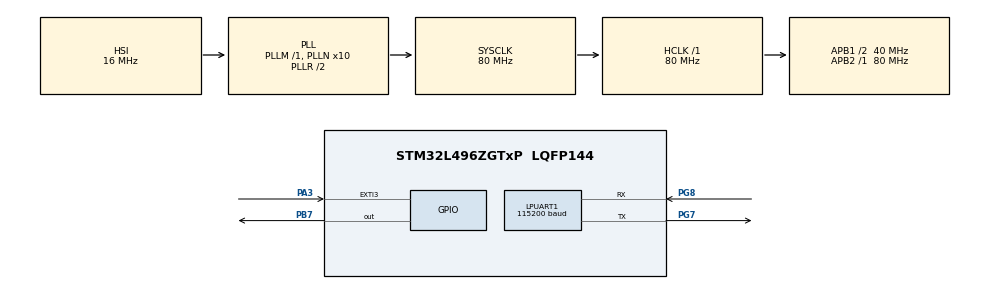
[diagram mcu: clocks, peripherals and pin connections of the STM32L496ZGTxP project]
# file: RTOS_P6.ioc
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FREERTOS.Events01=myEvent01,Dynamic,NULL
FREERTOS.Tasks01=ButtonTask,24,128,StartButtonTask,Default,NULL,Dynamic,NULL,NULL;UartTask,24,512,StartUartTask,Default,NULL,Dynamic,NULL,NULL
FREERTOS.configTOTAL_HEAP_SIZE=10000
FREERTOS.configUSE_NEWLIB_REENTRANT=1
LPUART1.BaudRate=115200
LPUART1.WordLength=UART_WORDLENGTH_8B
Mcu.Family=STM32L4
Mcu.Name=STM32L496ZGTxP
Mcu.Package=LQFP144
NVIC.EXTI3_IRQn=true\:5\:0\:false\:false\:true\:true\:true\:true\:true
NVIC.LPUART1_IRQn=true\:5\:0\:false\:false\:true\:true\:true\:true\:true
NVIC.PriorityGroup=NVIC_PRIORITYGROUP_4
NVIC.TIM6_DAC_IRQn=true\:15\:0\:false\:false\:true\:false\:false\:true\:true
NVIC.TimeBase=TIM6_DAC_IRQn
NVIC.TimeBaseIP=TIM6
PA13\ (JTMS/SWDIO).Mode=Serial_Wire
PA13\ (JTMS/SWDIO).Signal=SYS_JTMS-SWDIO
PA14\ (JTCK/SWCLK).Mode=Serial_Wire
PA14\ (JTCK/SWCLK).Signal=SYS_JTCK-SWCLK
PA3.GPIO_ModeDefaultEXTI=GPIO_MODE_IT_FALLING
PA3.GPIO_PuPd=GPIO_PULLUP
PA3.Signal=GPXTI3
PB7.Signal=GPIO_Output
PG7.Mode=Asynchronous
PG7.Signal=LPUART1_TX
PG8.Mode=Asynchronous
PG8.Signal=LPUART1_RX
ProjectManager.HeapSize=0x200
ProjectManager.StackSize=0x400
ProjectManager.TargetToolchain=STM32CubeIDE
RCC.48MHZClocksFreq_Value=24000000
RCC.ADCFreq_Value=64000000
RCC.AHBFreq_Value=80000000
RCC.APB1CLKDivider=RCC_HCLK_DIV2
RCC.APB1Freq_Value=40000000
RCC.APB1TimFreq_Value=80000000
RCC.APB2Freq_Value=80000000
RCC.APB2TimFreq_Value=80000000
RCC.CortexFreq_Value=80000000
RCC.HCLKFreq_Value=80000000
RCC.HSE_VALUE=8000000
RCC.HSI48_VALUE=48000000
RCC.HSI_VALUE=16000000
RCC.LSE_VALUE=32768
RCC.MSI_VALUE=4000000
RCC.PLLMUL=RCC_PLL_MUL9
RCC.PLLN=10
RCC.PLLSourceVirtual=RCC_PLLSOURCE_HSI
RCC.PRESCALERUSB=RCC_USBCLKSOURCE_PLL_DIV1_5
RCC.SYSCLKFreq_VALUE=80000000
RCC.SYSCLKSource=RCC_SYSCLKSOURCE_PLLCLK
RCC.SYSCLKSourceVirtual=RCC_SYSCLKSOURCE_PLLCLK
RCC.USBFreq_Value=64000000
RCC.VCOOutputFreq_Value=160000000
VP_FREERTOS_VS_CMSIS_V2.Mode=CMSIS_V2
VP_SYS_VS_tim6.Mode=TIM6
board=NUCLEO-L496ZG-P

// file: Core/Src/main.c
/* USER CODE BEGIN Header */
/**
  ******************************************************************************
  * @file           : main.c
  * @brief          : Main program body
  ******************************************************************************
  * @attention
  *
  * Copyright (c) 2026 STMicroelectronics.
  * All rights reserved.
  *
  * This software is licensed under terms that can be found in the LICENSE file
  * in the root directory of this software component.
  * If no LICENSE file comes with this software, it is provided AS-IS.
  *
  ******************************************************************************
  */
/* USER CODE END Header */
#include "main.h"
#include "cmsis_os.h"

/* USER CODE BEGIN Includes */
#include "stdio.h"
#include "string.h"
/* USER CODE END Includes */

UART_HandleTypeDef hlpuart1;

/* Definitions for ButtonTask */
osThreadId_t ButtonTaskHandle;
const osThreadAttr_t ButtonTask_attributes = {
  .name = "ButtonTask",
  .stack_size = 128 * 4,
  .priority = (osPriority_t) osPriorityNormal,
};
/* Definitions for UartTask */
osThreadId_t UartTaskHandle;
const osThreadAttr_t UartTask_attributes = {
  .name = "UartTask",
  .stack_size = 512 * 4,
  .priority = (osPriority_t) osPriorityNormal,
};
/* Definitions for myEvent01 */
osEventFlagsId_t myEvent01Handle;
const osEventFlagsAttr_t myEvent01_attributes = {
  .name = "myEvent01"
};

void SystemClock_Config(void);
static void MX_GPIO_Init(void);
static void MX_LPUART1_UART_Init(void);
void StartButtonTask(void *argument);
void StartUartTask(void *argument);

/* USER CODE BEGIN 0 */

int __io_putchar (int ch)
{
	uint8_t c = ch;
	HAL_UART_Transmit(&hlpuart1, &c, 1, HAL_MAX_DELAY);
	return ch;
}

#define BUTTON_PRESSED	(1<<3)
#define UART_RECEIVED	(1<<4)

uint8_t RxData[10];

void HAL_GPIO_EXTI_Callback(uint16_t GPIO_Pin)
{
	osEventFlagsSet(myEvent01Handle, BUTTON_PRESSED);
}

void HAL_UART_RxCpltCallback(UART_HandleTypeDef *huart)
{
	osEventFlagsSet(myEvent01Handle, UART_RECEIVED);
	HAL_UART_Receive_IT(&hlpuart1, RxData, 5);
}

/* USER CODE END 0 */

int main(void)
{

  /* MCU Configuration--------------------------------------------------------*/

  /* Reset of all peripherals, Initializes the Flash interface and the Systick. */
  HAL_Init();

  /* Configure the system clock */
  SystemClock_Config();

  /* Initialize all configured peripherals */
  MX_GPIO_Init();
  MX_LPUART1_UART_Init();
  /* USER CODE BEGIN 2 */

  HAL_UART_Receive_IT(&hlpuart1, RxData, 5);

  /* USER CODE END 2 */

  /* Init scheduler */
  osKernelInitialize();

  /* Create the thread(s) */
  /* creation of ButtonTask */
  ButtonTaskHandle = osThreadNew(StartButtonTask, NULL, &ButtonTask_attributes);

  /* creation of UartTask */
  UartTaskHandle = osThreadNew(StartUartTask, NULL, &UartTask_attributes);

  /* Create the event(s) */
  /* creation of myEvent01 */
  myEvent01Handle = osEventFlagsNew(&myEvent01_attributes);

  /* Start scheduler */
  osKernelStart();

  /* We should never get here as control is now taken by the scheduler */

  /* Infinite loop */
  while (1)
  {

  }
}

void SystemClock_Config(void)
{
  RCC_OscInitTypeDef RCC_OscInitStruct = {0};
  RCC_ClkInitTypeDef RCC_ClkInitStruct = {0};

  /** Configure the main internal regulator output voltage
  */
  if (HAL_PWREx_ControlVoltageScaling(PWR_REGULATOR_VOLTAGE_SCALE1) != HAL_OK)
  {
    Error_Handler();
  }

  /** Initializes the RCC Oscillators according to the specified parameters
  * in the RCC_OscInitTypeDef structure.
  */
  RCC_OscInitStruct.OscillatorType = RCC_OSCILLATORTYPE_HSI;
  RCC_OscInitStruct.HSIState = RCC_HSI_ON;
  RCC_OscInitStruct.HSICalibrationValue = RCC_HSICALIBRATION_DEFAULT;
  RCC_OscInitStruct.PLL.PLLState = RCC_PLL_ON;
  RCC_OscInitStruct.PLL.PLLSource = RCC_PLLSOURCE_HSI;
  RCC_OscInitStruct.PLL.PLLM = 1;
  RCC_OscInitStruct.PLL.PLLN = 10;
  RCC_OscInitStruct.PLL.PLLP = RCC_PLLP_DIV2;
  RCC_OscInitStruct.PLL.PLLQ = RCC_PLLQ_DIV2;
  RCC_OscInitStruct.PLL.PLLR = RCC_PLLR_DIV2;
  if (HAL_RCC_OscConfig(&RCC_OscInitStruct) != HAL_OK)
  {
    Error_Handler();
  }

  /** Initializes the CPU, AHB and APB buses clocks
  */
  RCC_ClkInitStruct.ClockType = RCC_CLOCKTYPE_HCLK|RCC_CLOCKTYPE_SYSCLK
                              |RCC_CLOCKTYPE_PCLK1|RCC_CLOCKTYPE_PCLK2;
  RCC_ClkInitStruct.SYSCLKSource = RCC_SYSCLKSOURCE_PLLCLK;
  RCC_ClkInitStruct.AHBCLKDivider = RCC_SYSCLK_DIV1;
  RCC_ClkInitStruct.APB1CLKDivider = RCC_HCLK_DIV2;
  RCC_ClkInitStruct.APB2CLKDivider = RCC_HCLK_DIV1;

  if (HAL_RCC_ClockConfig(&RCC_ClkInitStruct, FLASH_LATENCY_4) != HAL_OK)
  {
    Error_Handler();
  }
}

static void MX_LPUART1_UART_Init(void)
{

  hlpuart1.Instance = LPUART1;
  hlpuart1.Init.BaudRate = 115200;
  hlpuart1.Init.WordLength = UART_WORDLENGTH_8B;
  hlpuart1.Init.StopBits = UART_STOPBITS_1;
  hlpuart1.Init.Parity = UART_PARITY_NONE;
  hlpuart1.Init.Mode = UART_MODE_TX_RX;
  hlpuart1.Init.HwFlowCtl = UART_HWCONTROL_NONE;
  hlpuart1.Init.OneBitSampling = UART_ONE_BIT_SAMPLE_DISABLE;
  hlpuart1.AdvancedInit.AdvFeatureInit = UART_ADVFEATURE_NO_INIT;
  if (HAL_UART_Init(&hlpuart1) != HAL_OK)
  {
    Error_Handler();
  }

}

static void MX_GPIO_Init(void)
{
  GPIO_InitTypeDef GPIO_InitStruct = {0};

  /* GPIO Ports Clock Enable */
  __HAL_RCC_GPIOA_CLK_ENABLE();
  __HAL_RCC_GPIOG_CLK_ENABLE();
  HAL_PWREx_EnableVddIO2();
  __HAL_RCC_GPIOB_CLK_ENABLE();

  /*Configure GPIO pin Output Level */
  HAL_GPIO_WritePin(GPIOB, GPIO_PIN_7, GPIO_PIN_RESET);

  /*Configure GPIO pin : PA3 */
  GPIO_InitStruct.Pin = GPIO_PIN_3;
  GPIO_InitStruct.Mode = GPIO_MODE_IT_FALLING;
  GPIO_InitStruct.Pull = GPIO_PULLUP;
  HAL_GPIO_Init(GPIOA, &GPIO_InitStruct);

  /*Configure GPIO pin : PB7 */
  GPIO_InitStruct.Pin = GPIO_PIN_7;
  GPIO_InitStruct.Mode = GPIO_MODE_OUTPUT_PP;
  GPIO_InitStruct.Pull = GPIO_NOPULL;
  GPIO_InitStruct.Speed = GPIO_SPEED_FREQ_LOW;
  HAL_GPIO_Init(GPIOB, &GPIO_InitStruct);

  /* EXTI interrupt init*/
  HAL_NVIC_SetPriority(EXTI3_IRQn, 5, 0);
  HAL_NVIC_EnableIRQ(EXTI3_IRQn);

}

/* USER CODE BEGIN 4 */

#define TASK1_EVENT	(1<<0)
#define TASK2_EVENT	(1<<1)
#define TASK3_EVENT	(1<<2)

/****** WAIT FOR ALL EVENTS *****/

//void StartTask1(void *argument)
//{
//  /* USER CODE BEGIN StartTask15 */
//   /* Infinite loop */
//   for(;;)
//   {
//	   printf ("Task1 Sending Event\n");
//	   osEventFlagsSet(myEvent01Handle, TASK1_EVENT);
//	   osDelay(1000);
//   }
//  /* USER CODE END StartTask1 */
//}
//
//void StartTask2(void *argument)
//{
//  /* USER CODE BEGIN StartTask2 */
//   /* Infinite loop */
//   for(;;)
//   {
//	   printf ("Task2 Sending Event\n");
//	   osEventFlagsSet(myEvent01Handle, TASK2_EVENT);
//	   osDelay(2000);
//   }
//  /* USER CODE END StartTask2 */
//}
//
//void StartTask3(void *argument)
//{
//  /* USER CODE BEGIN StartTask3 */
//   /* Infinite loop */
//   for(;;)
//   {
//	   printf ("Task3 Sending Event\n");
//	   osEventFlagsSet(myEvent01Handle, TASK3_EVENT);
//	   osDelay(3000);
//   }
//  /* USER CODE END StartTask3 */
//}
//
//void StartTask4(void *argument)
//{
// /* USER CODE BEGIN StartTask4 */
// /* Infinite loop */
// for(;;)
// {
//	  printf("Processing Task: Waiting for all sensors...\n");
//	  osEventFlagsWait(myEvent01Handle, TASK1_EVENT | TASK2_EVENT| TASK3_EVENT,
//			  	  	   osFlagsWaitAll, osWaitForever);
//	  printf("Processing Task: All sensors ready! Processing data...\n\n");
//	  osDelay(500);
// }
// /* USER CODE END StartTask4 */
//}

/****** WAIT FOR ANY ONE EVENT *****/

//void StartTask1(void *argument)
//{
//  /* USER CODE BEGIN StartTask15 */
//   /* Infinite loop */
//   for(;;)
//   {
//	   printf ("Task1 Sending Event\n");
//	   osEventFlagsSet(myEvent01Handle, TASK1_EVENT);
//	   osDelay(3000);
//   }
//  /* USER CODE END StartTask1 */
//}
//
//void StartTask2(void *argument)
//{
//  /* USER CODE BEGIN StartTask2 */
//   /* Infinite loop */
//   for(;;)
//   {
//	   printf ("Task2 Sending Event\n");
//	   osEventFlagsSet(myEvent01Handle, TASK2_EVENT);
//	   osDelay(5000);
//   }
//  /* USER CODE END StartTask2 */
//}
//
//void StartTask3(void *argument)
//{
//  /* USER CODE BEGIN StartTask3 */
//   /* Infinite loop */
//   for(;;)
//   {
//	   printf ("Task3 Sending Event\n");
//	   osEventFlagsSet(myEvent01Handle, TASK3_EVENT);
//	   osDelay(7000);
//   }
//  /* USER CODE END StartTask3 */
//}
//
//void StartTask4(void *argument)
//{
//    uint32_t flags;
//    for(;;)
//    {
//        printf("Processing Task: Waiting for any Event...\n");
//        flags = osEventFlagsWait(myEvent01Handle, TASK1_EVENT | TASK2_EVENT | TASK3_EVENT,
//                                 osFlagsWaitAny, osWaitForever);
//
//        if (flags & SENSOR1_BIT) printf("Processing Task: Event received from Task1\n");
//        if (flags & SENSOR2_BIT) printf("Processing Task: Event received from Task2\n");
//        if (flags & SENSOR3_BIT) printf("Processing Task: Event received from Task3\n");
//
//        osDelay(500);
//    }
//}

/* USER CODE END 4 */

void StartButtonTask(void *argument)
{
  /* USER CODE BEGIN 5 */

   /* Infinite loop */
   for(;;)
   {
	   osEventFlagsWait(myEvent01Handle, BUTTON_PRESSED, osFlagsWaitAll, osWaitForever);
	   HAL_GPIO_TogglePin(GPIOB, GPIO_PIN_7);
	   osDelay(500);
   }
  /* USER CODE END 5 */
}

void StartUartTask(void *argument)
{
  /* USER CODE BEGIN StartUartTask */
  /* Infinite loop */
  for(;;)
  {
	  osEventFlagsWait(myEvent01Handle, UART_RECEIVED, osFlagsWaitAll, osWaitForever);
	  printf ("Data Received: %s\n", RxData);
  }
  /* USER CODE END StartUartTask */
}

void HAL_TIM_PeriodElapsedCallback(TIM_HandleTypeDef *htim)
{
  if (htim->Instance == TIM6)
  {
    HAL_IncTick();
  }
}

void Error_Handler(void)
{
  __disable_irq();
  while (1)
  {
  }
}
